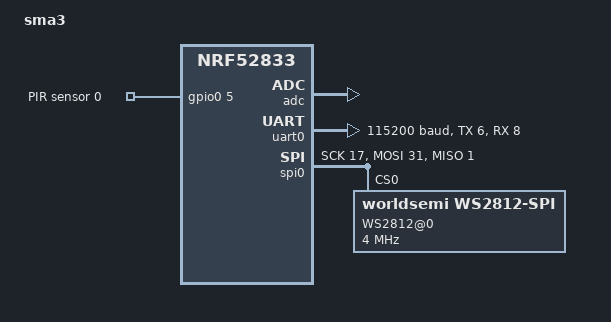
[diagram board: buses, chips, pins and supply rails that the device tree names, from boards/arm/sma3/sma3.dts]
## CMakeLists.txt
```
cmake_minimum_required(VERSION 3.20.0)

set(BOARD_ROOT ${CMAKE_CURRENT_LIST_DIR})
set(BOARD sma3)

find_package(Zephyr REQUIRED HINTS $ENV{ZEPHYR_BASE})
project(Sunmachine-A3-fw)

FILE(GLOB app_sources src/*.c)
target_sources(app PRIVATE ${app_sources})
```

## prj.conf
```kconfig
CONFIG_GPIO=y
CONFIG_NFCT_PINS_AS_GPIOS=y
CONFIG_SPI=y
CONFIG_LED_STRIP=y
CONFIG_WS2812_STRIP=y
CONFIG_ADC=y
CONFIG_COUNTER=y
CONFIG_COUNTER_RTC2=y

CONFIG_NEWLIB_LIBC=y
CONFIG_NEWLIB_LIBC_NANO=n

CONFIG_BT=y
CONFIG_BT_PERIPHERAL=y
CONFIG_BT_DEVICE_NAME="Sunmachine"
CONFIG_BT_DEVICE_NAME_DYNAMIC=y
CONFIG_BT_DEVICE_NAME_GATT_WRITABLE=y
CONFIG_BT_DEVICE_NAME_MAX=40
CONFIG_BT_DEVICE_APPEARANCE=1984
CONFIG_BT_CTLR_TX_PWR_PLUS_4=y
CONFIG_BT_SETTINGS=y
CONFIG_BT_SMP=y
CONFIG_BT_SMP_SC_ONLY=y
CONFIG_BT_PRIVACY=y
CONFIG_BT_KEYS_OVERWRITE_OLDEST=y

CONFIG_FLASH=y
CONFIG_FLASH_PAGE_LAYOUT=y
CONFIG_FLASH_MAP=y
CONFIG_NVS=y
CONFIG_SETTINGS=y

CONFIG_BOOTLOADER_MCUBOOT=y
CONFIG_MCUBOOT_IMAGE_VERSION="0.1.0"
CONFIG_MCUMGR=y
CONFIG_MCUMGR_CMD_IMG_MGMT=y
CONFIG_MCUMGR_CMD_OS_MGMT=y
CONFIG_MCUMGR_SMP_BT=y
CONFIG_MCUMGR_SMP_BT_AUTHEN=n
CONFIG_BT_L2CAP_TX_MTU=252
CONFIG_BT_BUF_ACL_RX_SIZE=256
```

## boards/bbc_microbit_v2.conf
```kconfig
CONFIG_BOOTLOADER_MCUBOOT=n
CONFIG_MCUBOOT_IMAGE_VERSION=""
CONFIG_MCUMGR=n
CONFIG_MCUMGR_CMD_IMG_MGMT=n
CONFIG_MCUMGR_CMD_OS_MGMT=n
CONFIG_MCUMGR_SMP_BT=n
```

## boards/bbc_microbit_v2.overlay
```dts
#include <dt-bindings/led/led.h>

/ {
	aliases {
		pir = &buttonA;
	};
};

&adc {
	status = "okay";
};

&i2c0 {
	status = "disabled";
};

&spi0 {
	compatible = "nordic,nrf-spim";
	status = "okay";
	sck-pin = <17>;
	mosi-pin = <3>;
	miso-pin = <1>;

	led_strip: ws2812@0 {
		compatible = "worldsemi,ws2812-spi";
		label = "WS2812";
		reg = <0>;
		spi-max-frequency = <4000000>;
		chain-length = <600>;
		color-mapping = <LED_COLOR_ID_GREEN
				 LED_COLOR_ID_RED
				 LED_COLOR_ID_BLUE>;
		spi-one-frame = <0x70>;
		spi-zero-frame = <0x40>;
	};
};
```

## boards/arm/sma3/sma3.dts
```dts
/*
 * Copyright (c) 2019 Nordic Semiconductor ASA
 *
 * SPDX-License-Identifier: Apache-2.0
 */

/dts-v1/;
#include <nordic/nrf52833_qiaa.dtsi>
#include <dt-bindings/led/led.h>

/ {
	model = "sma3";
	compatible = "nordic,nrf52833-dk-nrf52833";

	chosen {
		zephyr,console = &uart0;
		zephyr,shell-uart = &uart0;
		zephyr,uart-mcumgr = &uart0;
		zephyr,bt-mon-uart = &uart0;
		zephyr,bt-c2h-uart = &uart0;
		zephyr,sram = &sram0;
		zephyr,flash = &flash0;
		zephyr,code-partition = &slot0_partition;
	};

	pirs {
		compatible = "gpio-keys";
		pir0: pir_0 {
			gpios = <&gpio0 5 (GPIO_PULL_DOWN | GPIO_ACTIVE_HIGH)>;
			label = "PIR sensor 0";
		};
	};

	aliases {
		pir = &pir0;
	};
};

&adc {
	status = "okay";
};

&gpiote {
	status = "okay";
};

&gpio0 {
	status = "okay";
};

&uart0 {
	status = "okay";
	compatible = "nordic,nrf-uart";
	current-speed = <115200>;
	tx-pin = <6>;
	rx-pin = <8>;
	rx-pull-up;
	rts-pin = <5>;
	cts-pin = <7>;
	cts-pull-up;
};

&spi0 {
	compatible = "nordic,nrf-spim";
	status = "okay";
	sck-pin = <17>;
	mosi-pin = <31>;
	miso-pin = <1>;

	led_strip: ws2812@0 {
		compatible = "worldsemi,ws2812-spi";
		label = "WS2812@0";
		reg = <0>;
		spi-max-frequency = <4000000>;
		spi-one-frame = <0x70>;
		spi-zero-frame = <0x40>;
		chain-length = <600>;
		color-mapping = <LED_COLOR_ID_GREEN
				LED_COLOR_ID_RED
				LED_COLOR_ID_BLUE>;
	};
};

&flash0 {
	partitions {
		compatible = "fixed-partitions";
		#address-cells = <1>;
		#size-cells = <1>;

		boot_partition: partition@0 {
			label = "mcuboot";
			reg = <0x000000000 0xC000>;
		};
		slot0_partition: partition@c000 {
			label = "image-0";
			reg = <0x0000C000 0x32000>;
		};
		slot1_partition: partition@3e000 {
			label = "image-1";
			reg = <0x0003E000 0x32000>;
		};
		scratch_partition: partition@70000 {
			label = "image-scratch";
			reg = <0x00070000 0xA000>;
		};
		storage_partition: partition@7a000 {
			label = "storage";
			reg = <0x0007A000 0x00006000>;
		};
	};
};
```

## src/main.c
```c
#include <zephyr.h>
#include <stdlib.h>
#include <string.h>
#include <math.h>
#include <device.h>
#include <drivers/gpio.h>
#include <drivers/led_strip.h>
#include <drivers/adc.h>
#include <hal/nrf_saadc.h>

#include "types.h"
#include "storage.h"
#include "cron.h"
#include "bluetooth.h"
#include "colors.h"

struct k_thread thread_led;
K_THREAD_STACK_DEFINE(thr_stack_led, 1024);

uint8_t control[4] = { 0, 12, 10, 10 };
uint8_t strip[6] = { 0, 0, 30, 0, 100, 20 };
sun_auto_t auto_state = auto_off;
sun_ws2812_t ws2812;
uint16_t lux = 0, luxoff = 0xffff;

const struct gpio_dt_spec pir = GPIO_DT_SPEC_GET_OR(DT_ALIAS(pir), gpios, {0});
struct gpio_callback pir_cb_data;

const struct device *adc;
const struct adc_channel_cfg adc_channel = {
    .gain = ADC_GAIN_1_6,
    .reference = ADC_REF_INTERNAL,
    .acquisition_time = ADC_ACQ_TIME_DEFAULT,
    .channel_id = 0,
    .input_positive = NRF_SAADC_INPUT_AIN4,
};
int32_t adc_voltage[1];
const struct adc_sequence adc_sequence = {
    .channels = BIT(adc_channel.channel_id),
    .buffer = adc_voltage,
    .buffer_size = sizeof(adc_voltage),
    .resolution = 12,
};

void luxoff_timeout(struct k_timer *timer);
K_TIMER_DEFINE(luxoff_timer, luxoff_timeout, NULL);

void auto_timeout(struct k_timer *timer);
K_TIMER_DEFINE(auto_timer, auto_timeout, NULL);

void ws2812_loop(void *a, void *b, void *c) {
    for(;;) {
        if(ws2812.update) {
            ws2812.update = false;

            if(MODE == mode_on || auto_state) {
                uint16_t hue = strip[2] | strip[3] << 8;
                uint8_t saturation = strip[4] <= 100 ? strip[4] : 100;
                uint8_t brightness = strip[5];
                if(auto_state == auto_semi) brightness /= 3;
                ws2812.pixbuf[0] = HSV(hue, saturation, brightness);
            } else {
                memset(&ws2812.pixbuf[0], 0, sizeof(struct led_rgb));
            }

            uint16_t pixlen = strip[0] | strip[1] << 8;
            uint32_t pixel_first = led_rgb_to_int(ws2812.pixbuf[0]);
            uint32_t pixel_last = led_rgb_to_int(ws2812.pixbuf[pixlen-1]);
            uint16_t delay = 210 - control[3] * 10;

            if(pixel_first != pixel_last) {
                for(uint16_t i=0; i<pixlen; i++) {
                    memcpy(&ws2812.pixbuf[i], &ws2812.pixbuf[0], sizeof(struct led_rgb));
                    led_strip_update_rgb(ws2812.dev, ws2812.pixbuf, pixlen);
                    k_msleep(delay);
                }
            }
        }

        k_msleep(10);
    }
}

void luxoff_timeout(struct k_timer *timer) {
    uint16_t a = ceil(control[2] * 1.5);
    uint16_t b = lux * 1.5;
    luxoff = a > b ? a : b;
}

void auto_timeout(struct k_timer *timer) {
    if(auto_state) auto_state--;
    if(auto_state == auto_semi) {
        double time_factor = control[1] * 7.5;
        double sqrt = time_factor / 3.0;
        for(uint8_t i=0; i<6; i++) {
            sqrt = (sqrt + time_factor / sqrt) / 2;
        }
        k_timer_start(&auto_timer, K_SECONDS(sqrt + 0.5), K_NO_WAIT);
    }
    ws2812.update = true;
}

void on_motion(const struct device *dev, struct gpio_callback *cb, gpio_port_pins_t pins) {
    if(MODE == mode_auto) {
        if(gpio_pin_get_dt(&pir)) {
            if(lux < control[2]) {
                k_timer_stop(&auto_timer);
                luxoff = 0xffff;
                auto_state = auto_on;
                ws2812.update = true;
                k_timer_start(&luxoff_timer, K_SECONDS(5), K_NO_WAIT);
            }
        } else {
            k_timer_start(&auto_timer, K_SECONDS(control[1] * 5), K_NO_WAIT);
        }
    }
}

void board_init() {
    ws2812.dev = DEVICE_DT_GET(DT_NODELABEL(led_strip));
    memset(&ws2812.pixbuf, 0, sizeof(ws2812.pixbuf));
    led_strip_update_rgb(ws2812.dev, ws2812.pixbuf, strip[0] | strip[1] << 8);
    ws2812.update = true;

    gpio_pin_configure_dt(&pir, GPIO_INPUT);
    gpio_pin_interrupt_configure_dt(&pir, GPIO_INT_EDGE_BOTH);
    gpio_init_callback(&pir_cb_data, on_motion, BIT(pir.pin));
    gpio_add_callback(pir.port, &pir_cb_data);

    adc = DEVICE_DT_GET(DT_NODELABEL(adc));
    adc_channel_setup(adc, &adc_channel);

    k_thread_create(&thread_led,
        thr_stack_led, K_THREAD_STACK_SIZEOF(thr_stack_led),
        ws2812_loop, NULL, NULL, NULL,
        5, 0, K_NO_WAIT);
}

void main() {
    storage_init();
    cron_init();
    board_init();
    bluetooth_init();

    for(;;) {
        adc_read(adc, &adc_sequence);
        adc_raw_to_millivolts(adc_ref_internal(adc),
            adc_channel.gain, adc_sequence.resolution, &adc_voltage[0]);
        double resistance = (3300.0 - adc_voltage[0]) / adc_voltage[0] * 10000;
        lux = round(37500000 * pow(resistance, -1.41));
        bluetooth_lux_notify();

        if(auto_state && lux > luxoff) {
            auto_state = auto_off;
            ws2812.update = true;
        }

        if(MODE == mode_sleep && lux > control[2]) {
            MODE_SET(mode_auto);
        }

        k_msleep(1000);
    }
}
```

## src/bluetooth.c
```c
#include <zephyr.h>
#include <stdio.h>
#include <stdlib.h>
#include <bluetooth/bluetooth.h>
#include <bluetooth/uuid.h>
#include <bluetooth/gap.h>
#include <bluetooth/gatt.h>
#include <settings/settings.h>
#ifdef CONFIG_BOOTLOADER_MCUBOOT
#include <os_mgmt/os_mgmt.h>
#include <img_mgmt/img_mgmt.h>
#include <mgmt/mcumgr/smp_bt.h>
#endif

#include "types.h"
#include "storage.h"
#include "cron.h"

#define SRVC_UUID BT_UUID_DECLARE_128( \
    BT_UUID_128_ENCODE(0x20163400, 0xf704, 0x4e77, 0x9acc, 0x07b7ade2d0fe))

#define IDV_UUID BT_UUID_DECLARE_128( \
    BT_UUID_128_ENCODE(0x20163401, 0xf704, 0x4e77, 0x9acc, 0x07b7ade2d0fe))

#define CTRL_UUID BT_UUID_DECLARE_128( \
    BT_UUID_128_ENCODE(0x20163402, 0xf704, 0x4e77, 0x9acc, 0x07b7ade2d0fe))

#define STRIP_UUID BT_UUID_DECLARE_128( \
    BT_UUID_128_ENCODE(0x20163403, 0xf704, 0x4e77, 0x9acc, 0x07b7ade2d0fe))

#define LUX_UUID BT_UUID_DECLARE_128( \
    BT_UUID_128_ENCODE(0x20163404, 0xf704, 0x4e77, 0x9acc, 0x07b7ade2d0fe))

#define CRON_UUID BT_UUID_DECLARE_128( \
    BT_UUID_128_ENCODE(0x20163405, 0xf704, 0x4e77, 0x9acc, 0x07b7ade2d0fe))

#define RTC_UUID BT_UUID_DECLARE_128( \
    BT_UUID_128_ENCODE(0x20163406, 0xf704, 0x4e77, 0x9acc, 0x07b7ade2d0fe))

#define TZ_UUID BT_UUID_DECLARE_128( \
    BT_UUID_128_ENCODE(0x20163407, 0xf704, 0x4e77, 0x9acc, 0x07b7ade2d0fe))

const struct bt_data ad[] = {
    BT_DATA_BYTES(BT_DATA_FLAGS, (BT_LE_AD_GENERAL | BT_LE_AD_NO_BREDR)),
    BT_DATA_BYTES(BT_DATA_UUID128_ALL, \
        BT_UUID_128_ENCODE(0x20163400, 0xf704, 0x4e77, 0x9acc, 0x07b7ade2d0fe)),
};

char idv[8] = { 'S', 'M', 'A', '3', 0, 0, 0, 0 };
bool notify_enable = false;

extern uint8_t control[4];
extern uint8_t strip[6];
extern uint16_t lux;
extern uint8_t cronbuf[40];
extern char timezone[50];
extern sun_ws2812_t ws2812;
extern sun_auto_t auto_state;
extern struct k_timer auto_timer;
extern struct k_timer luxoff_timer;

ssize_t idv_read(struct bt_conn *conn, const struct bt_gatt_attr *attr, void *buf, uint16_t len, uint16_t offset) {
    const uint8_t *value = attr->user_data;
    return bt_gatt_attr_read(conn, attr, buf, len, offset, value, sizeof(idv));
}

ssize_t control_read(struct bt_conn *conn, const struct bt_gatt_attr *attr, void *buf, uint16_t len, uint16_t offset) {
    const uint8_t *value = attr->user_data;
    return bt_gatt_attr_read(conn, attr, buf, len, offset, value, sizeof(control));
}

ssize_t control_write(struct bt_conn *conn, const struct bt_gatt_attr *attr, const void *buf, uint16_t len, uint16_t offset, uint8_t flags) {
    if(offset != 0 || len != sizeof(control)) {
        return BT_GATT_ERR(BT_ATT_ERR_INVALID_OFFSET);
    }
    uint8_t *value = attr->user_data;
    uint8_t *update = (uint8_t*)buf;
    bool trigger[3] = {
        (value[0] & 0x0f) != (update[0] & 0x0f),
        value[1] != update[1] && auto_state == auto_on,
        value[2] != update[2] && auto_state == auto_on,
    };
    memcpy(value + offset, buf, len);
    if(MODE != mode_auto) {
        auto_state = auto_off;
        k_timer_stop(&auto_timer);
    }
    if(trigger[0]) ws2812.update = true;
    if(trigger[1]) k_timer_start(&auto_timer, K_SECONDS(control[1] * 5), K_NO_WAIT);
    if(trigger[2]) k_timer_start(&luxoff_timer, K_SECONDS(1), K_NO_WAIT);
    storage_keep_control();
    return len;
}

ssize_t strip_read(struct bt_conn *conn, const struct bt_gatt_attr *attr, void *buf, uint16_t len, uint16_t offset) {
    const uint8_t *value = attr->user_data;
    return bt_gatt_attr_read(conn, attr, buf, len, offset, value, sizeof(strip));
}

ssize_t strip_write(struct bt_conn *conn, const struct bt_gatt_attr *attr, const void *buf, uint16_t len, uint16_t offset, uint8_t flags) {
    if(offset != 0 || len != sizeof(strip)) {
        return BT_GATT_ERR(BT_ATT_ERR_INVALID_OFFSET);
    }
    uint8_t *value = attr->user_data;
    uint8_t *update = (uint8_t*)buf;
    bool trigger = false;
    for(int i=0; i<len; i++) {
        if(value[i] != update[i]) trigger = true;
    }
    memcpy(value, buf, len);
    ws2812.update = trigger;
    storage_keep_strip();
    return len;
}

ssize_t lux_read(struct bt_conn *conn, const struct bt_gatt_attr *attr, void *buf, uint16_t len, uint16_t offset) {
    const uint8_t *value = attr->user_data;
    return bt_gatt_attr_read(conn, attr, buf, len, offset, value, sizeof(lux));
}

void lux_ccc_cfg_changed(const struct bt_gatt_attr *attr, uint16_t value) {
    notify_enable = (value == BT_GATT_CCC_NOTIFY);
}

ssize_t crontab_read(struct bt_conn *conn, const struct bt_gatt_attr *attr, void *buf, uint16_t len, uint16_t offset) {
    const uint8_t *value = attr->user_data;
    return bt_gatt_attr_read(conn, attr, buf, len, offset, value, sizeof(cronbuf));
}

ssize_t crontab_write(struct bt_conn *conn, const struct bt_gatt_attr *attr, const void *buf, uint16_t len, uint16_t offset, uint8_t flags) {
    if(offset != 0 || len != sizeof(cronbuf)) {
        return BT_GATT_ERR(BT_ATT_ERR_INVALID_OFFSET);
    }
    uint8_t *value = attr->user_data;
    memcpy(value, buf, len);
    crontab_load();
    storage_keep_cronbuf();
    return len;
}

ssize_t rtc_read(struct bt_conn *conn, const struct bt_gatt_attr *attr, void *buf, uint16_t len, uint16_t offset) {
    time_t rtc_value = rtc_get();
    const uint8_t *value = (uint8_t*)&rtc_value;
    return bt_gatt_attr_read(conn, attr, buf, len, offset, value, sizeof(rtc_value));
}

ssize_t rtc_write(struct bt_conn *conn, const struct bt_gatt_attr *attr, const void *buf, uint16_t len, uint16_t offset, uint8_t flags) {
    if(offset != 0 || len != sizeof(time_t)) {
        return BT_GATT_ERR(BT_ATT_ERR_INVALID_OFFSET);
    }
    uint8_t *value = (uint8_t*)malloc(len);
    memcpy(value, buf, len);
    rtc_set(*(time_t*)value);
    free(value);
    return len;
}

ssize_t timezone_read(struct bt_conn *conn, const struct bt_gatt_attr *attr, void *buf, uint16_t len, uint16_t offset) {
    const uint8_t *value = attr->user_data;
    return bt_gatt_attr_read(conn, attr, buf, len, offset, value, strlen(timezone));
}

ssize_t timezone_write(struct bt_conn *conn, const struct bt_gatt_attr *attr, const void *buf, uint16_t len, uint16_t offset, uint8_t flags) {
    if(offset != 0 || len >= sizeof(timezone)) {
        return BT_GATT_ERR(BT_ATT_ERR_INVALID_OFFSET);
    }
    uint8_t *value = attr->user_data;
    memcpy(value, buf, len);
    _setenv_r(_REENT, "TZ", value, 1);
    return len;
}

BT_GATT_SERVICE_DEFINE(vnd_svc,
    BT_GATT_PRIMARY_SERVICE(SRVC_UUID),
    BT_GATT_CHARACTERISTIC(IDV_UUID,
        BT_GATT_CHRC_READ,
        BT_GATT_PERM_READ,
        idv_read, NULL, &idv),
    BT_GATT_CHARACTERISTIC(CTRL_UUID,
        BT_GATT_CHRC_READ | BT_GATT_CHRC_WRITE,
        BT_GATT_PERM_READ | BT_GATT_PERM_WRITE,
        control_read, control_write, &control),
    BT_GATT_CHARACTERISTIC(STRIP_UUID,
        BT_GATT_CHRC_READ | BT_GATT_CHRC_WRITE,
        BT_GATT_PERM_READ | BT_GATT_PERM_WRITE,
        strip_read, strip_write, &strip),
    BT_GATT_CHARACTERISTIC(LUX_UUID,
        BT_GATT_CHRC_READ | BT_GATT_CHRC_NOTIFY,
        BT_GATT_PERM_READ,
        lux_read, NULL, &lux),
    BT_GATT_CCC(lux_ccc_cfg_changed,
        BT_GATT_PERM_READ | BT_GATT_PERM_WRITE),
    BT_GATT_CHARACTERISTIC(CRON_UUID,
        BT_GATT_CHRC_READ | BT_GATT_CHRC_WRITE,
        BT_GATT_PERM_READ | BT_GATT_PERM_WRITE,
        crontab_read, crontab_write, &cronbuf),
    BT_GATT_CHARACTERISTIC(RTC_UUID,
        BT_GATT_CHRC_READ | BT_GATT_CHRC_WRITE,
        BT_GATT_PERM_READ | BT_GATT_PERM_WRITE,
        rtc_read, rtc_write, NULL),
    BT_GATT_CHARACTERISTIC(TZ_UUID,
        BT_GATT_CHRC_READ | BT_GATT_CHRC_WRITE,
        BT_GATT_PERM_READ | BT_GATT_PERM_WRITE,
        timezone_read, timezone_write, &timezone),
);

void bluetooth_lux_notify() {
    if(notify_enable) bt_gatt_notify(NULL, &vnd_svc.attrs[7], &lux, sizeof(lux));
}

void bt_ready(int err) {
    settings_load();

    if(!strcmp(CONFIG_BT_DEVICE_NAME, bt_get_name())) {
        bt_addr_le_t addr[CONFIG_BT_ID_MAX];
        int addrs_count = 1;
        bt_id_get(addr, &addrs_count);
        if(addrs_count) {
            char btname[16];
            sprintf(btname, "%s %02X%02X",
                CONFIG_BT_DEVICE_NAME,
                addr[0].a.val[1], addr[0].a.val[0]);
            bt_set_name(btname);
        }
    }

    bt_le_adv_start(
        BT_LE_ADV_PARAM(
            BT_LE_ADV_OPT_CONNECTABLE | BT_LE_ADV_OPT_USE_NAME,
            BT_GAP_ADV_FAST_INT_MIN_2, BT_GAP_ADV_FAST_INT_MAX_2, NULL
        ),
        ad, ARRAY_SIZE(ad), NULL, 0
    );

#ifdef CONFIG_BOOTLOADER_MCUBOOT
    smp_bt_register();
#endif
}

void bluetooth_init() {
#ifdef CONFIG_BOOTLOADER_MCUBOOT
    os_mgmt_register_group();
    img_mgmt_register_group();
#endif
    bt_enable(bt_ready);
}
```

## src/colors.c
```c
#include "colors.h"

const uint8_t gamma_table[] = {
    0x00, 0x00, 0x00, 0x00, 0x00, 0x00, 0x00, 0x00, 0x00, 0x00, 0x00, 0x00, 0x00, 0x00, 0x01, 0x01,
    0x01, 0x01, 0x01, 0x01, 0x01, 0x01, 0x01, 0x02, 0x02, 0x02, 0x02, 0x02, 0x02, 0x03, 0x03, 0x03,
    0x03, 0x03, 0x04, 0x04, 0x04, 0x04, 0x05, 0x05, 0x05, 0x05, 0x06, 0x06, 0x06, 0x07, 0x07, 0x07,
    0x08, 0x08, 0x08, 0x09, 0x09, 0x09, 0x0a, 0x0a, 0x0b, 0x0b, 0x0b, 0x0c, 0x0c, 0x0d, 0x0d, 0x0e,
    0x0e, 0x0e, 0x0f, 0x0f, 0x10, 0x10, 0x11, 0x11, 0x12, 0x12, 0x13, 0x14, 0x14, 0x15, 0x15, 0x16,
    0x16, 0x17, 0x18, 0x18, 0x19, 0x19, 0x1a, 0x1b, 0x1b, 0x1c, 0x1d, 0x1d, 0x1e, 0x1f, 0x1f, 0x20,
    0x21, 0x21, 0x22, 0x23, 0x24, 0x24, 0x25, 0x26, 0x27, 0x28, 0x28, 0x29, 0x2a, 0x2b, 0x2c, 0x2c,
    0x2d, 0x2e, 0x2f, 0x30, 0x31, 0x32, 0x33, 0x33, 0x34, 0x35, 0x36, 0x37, 0x38, 0x39, 0x3a, 0x3b,
    0x3c, 0x3d, 0x3e, 0x3f, 0x40, 0x41, 0x42, 0x43, 0x44, 0x45, 0x46, 0x47, 0x48, 0x49, 0x4b, 0x4c,
    0x4d, 0x4e, 0x4f, 0x50, 0x51, 0x53, 0x54, 0x55, 0x56, 0x57, 0x58, 0x5a, 0x5b, 0x5c, 0x5d, 0x5f,
    0x60, 0x61, 0x62, 0x64, 0x65, 0x66, 0x68, 0x69, 0x6a, 0x6b, 0x6d, 0x6e, 0x70, 0x71, 0x72, 0x74,
    0x75, 0x76, 0x78, 0x79, 0x7b, 0x7c, 0x7e, 0x7f, 0x81, 0x82, 0x83, 0x85, 0x86, 0x88, 0x89, 0x8b,
    0x8d, 0x8e, 0x90, 0x91, 0x93, 0x94, 0x96, 0x97, 0x99, 0x9b, 0x9c, 0x9e, 0xa0, 0xa1, 0xa3, 0xa5,
    0xa6, 0xa8, 0xaa, 0xab, 0xad, 0xaf, 0xb0, 0xb2, 0xb4, 0xb6, 0xb7, 0xb9, 0xbb, 0xbd, 0xbf, 0xc0,
    0xc2, 0xc4, 0xc6, 0xc8, 0xca, 0xcb, 0xcd, 0xcf, 0xd1, 0xd3, 0xd5, 0xd7, 0xd9, 0xdb, 0xdd, 0xdf,
    0xe1, 0xe2, 0xe4, 0xe6, 0xe8, 0xea, 0xec, 0xee, 0xf1, 0xf3, 0xf5, 0xf7, 0xf9, 0xfb, 0xfd, 0xff,
};

struct led_rgb HSV(uint16_t h1, uint8_t s1, uint8_t v1) {
    float h = h1 / 360.0;
    float s = s1 / 100.0;
    float v = v1 / 100.0;

    int i = h * 6;
    float f = h * 6 - i;
    float p = v * (1 - s);
    float q = v * (1 - f * s);
    float t = v * (1 - (1 - f) * s);

    float r, g, b;
    switch(i % 6) {
        case 0: r = v, g = t, b = p; break;
        case 1: r = q, g = v, b = p; break;
        case 2: r = p, g = v, b = t; break;
        case 3: r = p, g = q, b = v; break;
        case 4: r = t, g = p, b = v; break;
        case 5: r = v, g = p, b = q; break;
        default: r = 0, g = 0, b = 0;
    }

    struct led_rgb color;
    color.r = gamma_table[(int)(r * 255)];
    color.g = gamma_table[(int)(g * 255)];
    color.b = gamma_table[(int)(b * 255)];
    return color;
}

uint32_t led_rgb_to_int(struct led_rgb color) {
    return color.r << 16 | color.g << 8 | color.b;
}
```

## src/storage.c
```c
#include <zephyr.h>
#include <drivers/flash.h>
#include <storage/flash_map.h>
#include <fs/nvs.h>

struct nvs_fs fs;

extern uint8_t control[4];
extern uint8_t strip[6];
extern uint8_t cronbuf[40];

void keep_control_cb(struct k_work *work) {
    nvs_write(&fs, 1, &control, sizeof(control));
}
K_WORK_DEFINE(keep_control_work, keep_control_cb);

void storage_keep_control() {
    k_work_submit(&keep_control_work);
}

void keep_strip_cb(struct k_work *work) {
    nvs_write(&fs, 2, &strip, sizeof(strip));
}
K_WORK_DEFINE(keep_strip_work, keep_strip_cb);

void storage_keep_strip() {
    k_work_submit(&keep_strip_work);
}

void keep_cronbuf_cb(struct k_work *work) {
    nvs_write(&fs, 3, &cronbuf, sizeof(cronbuf));
}
K_WORK_DEFINE(keep_cronbuf_work, keep_cronbuf_cb);

void storage_keep_cronbuf() {
    k_work_submit(&keep_cronbuf_work);
}

void storage_init() {
    struct flash_pages_info info;

    fs.flash_device = FLASH_AREA_DEVICE(storage);
    fs.offset = FLASH_AREA_OFFSET(storage);
    flash_get_page_info_by_offs(fs.flash_device, fs.offset, &info);
    fs.sector_size = info.size;
    fs.sector_count = FLASH_AREA_SIZE(storage) / info.size;

    nvs_mount(&fs);
    nvs_read(&fs, 1, &control, sizeof(control));
    nvs_read(&fs, 2, &strip, sizeof(strip));
    nvs_read(&fs, 3, &cronbuf, sizeof(cronbuf));
}
```
